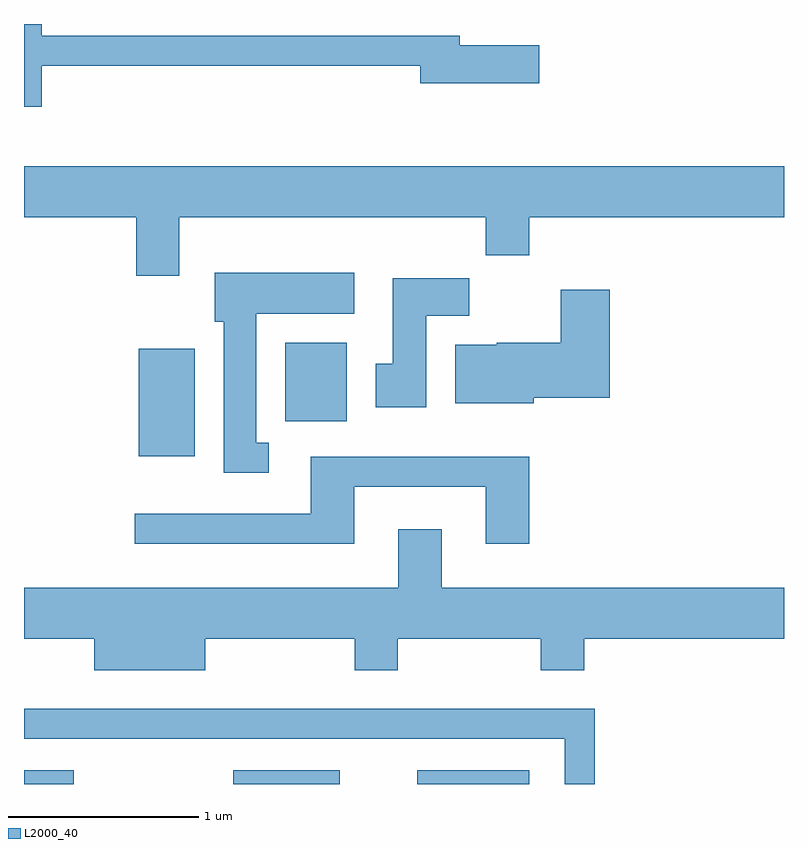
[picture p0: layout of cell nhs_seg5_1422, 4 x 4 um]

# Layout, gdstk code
import gdstk
lib = gdstk.Library(unit=1e-6, precision=1e-09)
def R(c, l, rs):  # rectangles x0, y0, x1, y1
    for r in rs: c.add(gdstk.rectangle(r[:2], r[2:], *l))
def P(c, l, *ps):  # polygons
    for p in ps: c.add(gdstk.Polygon(p, *l))
L2000_40 = (2000, 40)

nhs_seg5_1422 = lib.new_cell('nhs_seg5_1422')
R(nhs_seg5_1422, L2000_40, [(227.611,1416.072,227.874,1416.144), (228.711,1416.072,229.274,1416.144), (229.681,1416.072,230.269,1416.144), (228.216,1417.796,228.509,1418.364), (228.986,1417.981,229.309,1418.394)])
P(nhs_seg5_1422, L2000_40, [(227.704,1419.851),(229.696,1419.851),(229.696,1419.761),(230.324,1419.761),(230.324,1419.959),(229.904,1419.959),(229.904,1420.009),(227.704,1420.009),(227.704,1420.072),(227.611,1420.072),(227.611,1419.636),(227.704,1419.636)],
  [(228.429,1419.056),(230.041,1419.056),(230.041,1418.856),(230.269,1418.856),(230.269,1419.056),(231.611,1419.056),(231.611,1419.324),(227.611,1419.324),(227.611,1419.056),(228.201,1419.056),(228.201,1418.746),(228.429,1418.746)],
  [(228.898,1417.869),(228.834,1417.869),(228.834,1418.546),(229.349,1418.546),(229.349,1418.764),(228.616,1418.764),(228.616,1418.506),(228.661,1418.506),(228.661,1417.711),(228.898,1417.711)],
  [(229.729,1418.536),(229.954,1418.536),(229.954,1418.734),(229.551,1418.734),(229.551,1418.284),(229.461,1418.284),(229.461,1418.056),(229.729,1418.056)],
  [(230.294,1418.106),(230.694,1418.106),(230.694,1418.674),(230.436,1418.674),(230.436,1418.394),(230.1,1418.394),(230.1,1418.384),(229.881,1418.384),(229.881,1418.076),(230.294,1418.076)],
  [(229.349,1417.636),(230.041,1417.636),(230.041,1417.336),(230.269,1417.336),(230.269,1417.794),(229.121,1417.794),(229.121,1417.494),(228.193,1417.494),(228.193,1417.336),(229.349,1417.336)],
  [(228.564,1416.836),(229.351,1416.836),(229.351,1416.671),(229.579,1416.671),(229.579,1416.836),(230.331,1416.836),(230.331,1416.671),(230.559,1416.671),(230.559,1416.836),(231.611,1416.836),(231.611,1417.104),(229.809,1417.104),(229.809,1417.414),(229.581,1417.414),(229.581,1417.104),(227.611,1417.104),(227.611,1416.836),(227.981,1416.836),(227.981,1416.671),(228.564,1416.671)],
  [(230.614,1416.469),(227.611,1416.469),(227.611,1416.311),(230.456,1416.311),(230.456,1416.072),(230.614,1416.072)])

lib.write_gds('nhs_seg5_1422.gds')
